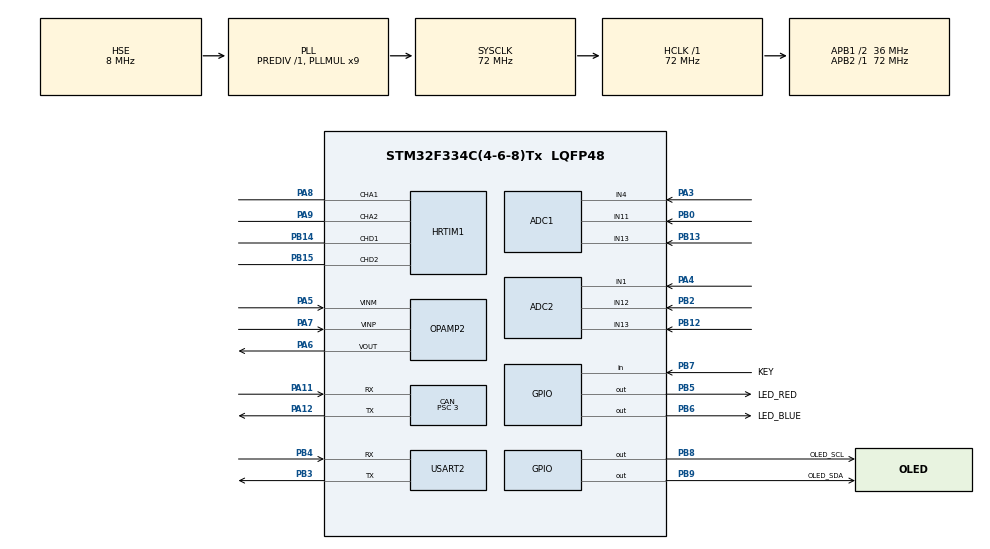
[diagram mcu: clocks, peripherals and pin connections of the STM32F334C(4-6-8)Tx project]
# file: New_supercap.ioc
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ADC1.Channel-0\#ChannelRegularConversion=ADC_CHANNEL_4
ADC1.Channel-1\#ChannelRegularConversion=ADC_CHANNEL_11
ADC1.Channel-2\#ChannelRegularConversion=ADC_CHANNEL_13
ADC1.ClockPrescaler=ADC_CLOCK_SYNC_PCLK_DIV1
ADC1.ContinuousConvMode=ENABLE
ADC1.DMAContinuousRequests=ENABLE
ADC1.EnableInjectedConversion=DISABLE
ADC1.ExternalTrigConv=ADC_SOFTWARE_START
ADC1.NbrOfConversion=3
ADC1.NbrOfConversionFlag=1
ADC1.Offset-0\#ChannelRegularConversion=0
ADC1.Offset-1\#ChannelRegularConversion=0
ADC1.Offset-2\#ChannelRegularConversion=0
ADC1.OffsetNumber-0\#ChannelRegularConversion=ADC_OFFSET_NONE
ADC1.OffsetNumber-1\#ChannelRegularConversion=ADC_OFFSET_NONE
ADC1.OffsetNumber-2\#ChannelRegularConversion=ADC_OFFSET_NONE
ADC1.Overrun=ADC_OVR_DATA_PRESERVED
ADC1.Rank-0\#ChannelRegularConversion=1
ADC1.Rank-1\#ChannelRegularConversion=2
ADC1.Rank-2\#ChannelRegularConversion=3
ADC1.SamplingTime-0\#ChannelRegularConversion=ADC_SAMPLETIME_601CYCLES_5
ADC1.SamplingTime-1\#ChannelRegularConversion=ADC_SAMPLETIME_601CYCLES_5
ADC1.SamplingTime-2\#ChannelRegularConversion=ADC_SAMPLETIME_601CYCLES_5
ADC1.SubFamily=STM32F334x8
ADC1.master=1
ADC2.Channel-0\#ChannelRegularConversion=ADC_CHANNEL_13
ADC2.Channel-1\#ChannelRegularConversion=ADC_CHANNEL_12
ADC2.Channel-2\#ChannelRegularConversion=ADC_CHANNEL_1
ADC2.ClockPrescaler=ADC_CLOCK_SYNC_PCLK_DIV1
ADC2.ContinuousConvMode=ENABLE
ADC2.DMAContinuousRequests=ENABLE
ADC2.EnableInjectedConversion=DISABLE
ADC2.NbrOfConversion=3
ADC2.NbrOfConversionFlag=1
ADC2.Offset-0\#ChannelRegularConversion=0
ADC2.Offset-1\#ChannelRegularConversion=0
ADC2.Offset-2\#ChannelRegularConversion=0
ADC2.OffsetNumber-0\#ChannelRegularConversion=ADC_OFFSET_NONE
ADC2.OffsetNumber-1\#ChannelRegularConversion=ADC_OFFSET_NONE
ADC2.OffsetNumber-2\#ChannelRegularConversion=ADC_OFFSET_NONE
ADC2.Overrun=ADC_OVR_DATA_PRESERVED
ADC2.Rank-0\#ChannelRegularConversion=1
ADC2.Rank-1\#ChannelRegularConversion=2
ADC2.Rank-2\#ChannelRegularConversion=3
ADC2.SamplingTime-0\#ChannelRegularConversion=ADC_SAMPLETIME_601CYCLES_5
ADC2.SamplingTime-1\#ChannelRegularConversion=ADC_SAMPLETIME_601CYCLES_5
ADC2.SamplingTime-2\#ChannelRegularConversion=ADC_SAMPLETIME_601CYCLES_5
ADC2.SamplingTimeOPAMP-1\#ChannelRegularConversion=ADC_SAMPLETIME_61CYCLES_5
ADC2.SamplingTimeOPAMP-2\#ChannelRegularConversion=ADC_SAMPLETIME_61CYCLES_5
ADC2.SubFamily=STM32F334x8
CAN.ABOM=DISABLE
CAN.BS1=CAN_BS1_7TQ
CAN.BS2=CAN_BS2_4TQ
CAN.CalculateBaudRate=999999
CAN.CalculateTimeBit=1000
CAN.CalculateTimeQuantum=83.33333333333334
CAN.NART=DISABLE
CAN.Prescaler=3
CAN.TXFP=ENABLE
Dma.ADC1.0.Direction=DMA_PERIPH_TO_MEMORY
Dma.ADC1.0.Instance=DMA1_Channel1
Dma.ADC1.0.MemDataAlignment=DMA_MDATAALIGN_HALFWORD
Dma.ADC1.0.MemInc=DMA_MINC_ENABLE
Dma.ADC1.0.Mode=DMA_CIRCULAR
Dma.ADC1.0.PeriphDataAlignment=DMA_PDATAALIGN_HALFWORD
Dma.ADC1.0.PeriphInc=DMA_PINC_DISABLE
Dma.ADC1.0.Priority=DMA_PRIORITY_HIGH
Dma.ADC2.1.Direction=DMA_PERIPH_TO_MEMORY
Dma.ADC2.1.Instance=DMA1_Channel2
Dma.ADC2.1.MemDataAlignment=DMA_MDATAALIGN_HALFWORD
Dma.ADC2.1.MemInc=DMA_MINC_ENABLE
Dma.ADC2.1.Mode=DMA_CIRCULAR
Dma.ADC2.1.PeriphDataAlignment=DMA_PDATAALIGN_HALFWORD
Dma.ADC2.1.PeriphInc=DMA_PINC_DISABLE
Dma.ADC2.1.Priority=DMA_PRIORITY_HIGH
Dma.Request0=ADC1
Dma.Request1=ADC2
FREERTOS.Tasks01=defaultTask,0,256,StartDefaultTask,Default,NULL,Dynamic,NULL,NULL;OLED,-2,512,StartOLED,As weak,NULL,Dynamic,NULL,NULL;cap_loop,1,512,Startcap_loop,As weak,NULL,Dynamic,NULL,NULL
FREERTOS.configTOTAL_HEAP_SIZE=6000
HRTIM1.CompareUnit1-Output_TA1TA2=HRTIM_COMPAREUNIT_1
HRTIM1.CompareUnit1-Output_TD1TD2=HRTIM_COMPAREUNIT_1
HRTIM1.CompareUnit2-Output_TA1TA2=HRTIM_COMPAREUNIT_2
HRTIM1.CompareUnit2-Output_TD1TD2=HRTIM_COMPAREUNIT_2
HRTIM1.CompareValue1-Output_TA1TA2=23040
HRTIM1.CompareValue1-Output_TD1TD2=23040
HRTIM1.CompareValue2-Output_TA1TA2=23040
HRTIM1.CompareValue2-Output_TD1TD2=23040
HRTIM1.DeadTimeInsertion-Output_TA1TA2=HRTIM_TIMDEADTIMEINSERTION_ENABLED
HRTIM1.DeadTimeInsertion-Output_TD1TD2=HRTIM_TIMDEADTIMEINSERTION_ENABLED
HRTIM1.FallingValue-Output_TA1TA2=500
HRTIM1.FallingValue-Output_TD1TD2=500
HRTIM1.NumberInterruptRequests_Master-MasterTimer=0
HRTIM1.NumberResetSource1-Output_TA1TA2=1
HRTIM1.NumberResetSource1-Output_TD1TD2=1
HRTIM1.NumberResetTrigger-Output_TA1TA2=0
HRTIM1.NumberResetTrigger-Output_TD1TD2=0
HRTIM1.NumberSetSource1-Output_TA1TA2=1
HRTIM1.NumberSetSource1-Output_TD1TD2=1
HRTIM1.Periode_MASTER=46080
HRTIM1.Periode_TA=46080
HRTIM1.Periode_TD=46080
HRTIM1.PreloadEnable-MasterTimer=HRTIM_PRELOAD_ENABLED
HRTIM1.PreloadEnable-Output_TA1TA2=HRTIM_PRELOAD_ENABLED
HRTIM1.PreloadEnable-Output_TD1TD2=HRTIM_PRELOAD_ENABLED
HRTIM1.PrescalerDead-Output_TD1TD2=HRTIM_TIMDEADTIME_PRESCALERRATIO_MUL8
HRTIM1.RepetitionUpdate-MasterTimer=HRTIM_UPDATEONREPETITION_ENABLED
HRTIM1.RepetitionUpdate-Output_TA1TA2=HRTIM_UPDATEONREPETITION_ENABLED
HRTIM1.RepetitionUpdate-Output_TD1TD2=HRTIM_UPDATEONREPETITION_ENABLED
HRTIM1.ResetOutput1_Source1-Output_TA1TA2=HRTIM_OUTPUTRESET_TIMCMP2
HRTIM1.ResetOutput1_Source1-Output_TD1TD2=HRTIM_OUTPUTRESET_TIMCMP2
HRTIM1.RisingValue-Output_TA1TA2=500
HRTIM1.RisingValue-Output_TD1TD2=500
HRTIM1.SetOutput1_Source1-Output_TA1TA2=HRTIM_OUTPUTSET_TIMCMP1
HRTIM1.SetOutput1_Source1-Output_TD1TD2=HRTIM_OUTPUTSET_TIMCMP1
Mcu.Family=STM32F3
Mcu.Name=STM32F334C(4-6-8)Tx
Mcu.Package=LQFP48
NVIC.CAN_RX0_IRQn=true\:5\:0\:true\:false\:true\:true\:true\:true\:true
NVIC.DMA1_Channel1_IRQn=true\:5\:0\:false\:false\:true\:true\:false\:true\:true
NVIC.DMA1_Channel2_IRQn=true\:5\:0\:false\:false\:true\:true\:false\:true\:true
NVIC.PriorityGroup=NVIC_PRIORITYGROUP_4
NVIC.TIM2_IRQn=true\:5\:0\:true\:false\:true\:true\:true\:true\:true
NVIC.TIM3_IRQn=true\:15\:0\:false\:false\:true\:false\:false\:true\:true
NVIC.TimeBase=TIM3_IRQn
NVIC.TimeBaseIP=TIM3
OPAMP2.SelfCalibration=Disable
PA11.Mode=CAN_Activate
PA11.Signal=CAN_RX
PA12.Mode=CAN_Activate
PA12.Signal=CAN_TX
PA13.Mode=Serial_Wire
PA13.Signal=SYS_JTMS-SWDIO
PA14.Mode=Serial_Wire
PA14.Signal=SYS_JTCK-SWCLK
PA3.Mode=IN4-Single-Ended
PA3.Signal=ADC1_IN4
PA4.Mode=IN1-Single-Ended
PA4.Signal=ADC2_IN1
PA5.Mode=Standalone
PA5.Signal=OPAMP2_VINM
PA6.Mode=Standalone
PA6.Signal=OPAMP2_VOUT
PA7.Mode=Standalone
PA7.Signal=OPAMP2_VINP
PA8.Mode=Output_TA1TA2
PA8.Signal=HRTIM1_CHA1
PA9.Mode=Output_TA1TA2
PA9.Signal=HRTIM1_CHA2
PB0.Mode=IN11-Single-Ended
PB0.Signal=ADC1_IN11
PB12.Mode=IN13-Single-Ended
PB12.Signal=ADC2_IN13
PB13.Mode=IN13-Single-Ended
PB13.Signal=ADC1_IN13
PB14.Mode=Output_TD1TD2
PB14.Signal=HRTIM1_CHD1
PB15.Mode=Output_TD1TD2
PB15.Signal=HRTIM1_CHD2
PB2.Mode=IN12-Single-Ended
PB2.Signal=ADC2_IN12
PB3.Mode=Asynchronous
PB3.Signal=USART2_TX
PB4.Mode=Asynchronous
PB4.Signal=USART2_RX
PB5.GPIO_Label=LED_RED
PB5.Signal=GPIO_Output
PB6.GPIO_Label=LED_BLUE
PB6.Signal=GPIO_Output
PB7.GPIO_Label=KEY
PB7.Signal=GPIO_Input
PB8.GPIO_Label=OLED_SCL
PB8.GPIO_Speed=GPIO_SPEED_FREQ_HIGH
PB8.Signal=GPIO_Output
PB9.GPIO_Label=OLED_SDA
PB9.GPIO_ModeDefaultOutputPP=GPIO_MODE_OUTPUT_OD
PB9.GPIO_PuPd=GPIO_NOPULL
PB9.GPIO_Speed=GPIO_SPEED_FREQ_HIGH
PB9.Signal=GPIO_Output
PF0\ /\ OSC_IN.Mode=HSE-External-Oscillator
PF0\ /\ OSC_IN.Signal=RCC_OSC_IN
PF1\ /\ OSC_OUT.Mode=HSE-External-Oscillator
PF1\ /\ OSC_OUT.Signal=RCC_OSC_OUT
ProjectManager.HeapSize=0x200
ProjectManager.StackSize=0x400
ProjectManager.TargetToolchain=MDK-ARM V5.32
RCC.AHBFreq_Value=72000000
RCC.APB1CLKDivider=RCC_HCLK_DIV2
RCC.APB1Freq_Value=36000000
RCC.APB1TimFreq_Value=72000000
RCC.APB2Freq_Value=72000000
RCC.APB2TimFreq_Value=72000000
RCC.CortexFreq_Value=72000000
RCC.HCLKFreq_Value=72000000
RCC.HRTIMSelection=RCC_HRTIM1CLK_PLLCLK
RCC.HSE_VALUE=8000000
RCC.HSI_VALUE=8000000
RCC.LSE_VALUE=32768
RCC.PLLMUL=RCC_PLL_MUL9
RCC.PLLSourceVirtual=RCC_PLLSOURCE_HSE
RCC.SYSCLKFreq_VALUE=72000000
RCC.SYSCLKSourceVirtual=RCC_SYSCLKSOURCE_PLLCLK
TIM2.AutoReloadPreload=TIM_AUTORELOAD_PRELOAD_ENABLE
TIM2.Period=99
TIM2.Prescaler=71
USART2.VirtualMode-Asynchronous=VM_ASYNC
VP_FREERTOS_VS_CMSIS_V1.Mode=CMSIS_V1
VP_HRTIM1_VS_hrtimMasterTimerNoOutput.Mode=MasterTimer
VP_SYS_VS_tim3.Mode=TIM3
VP_TIM2_VS_ClockSourceINT.Mode=Internal
board=custom

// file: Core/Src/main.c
/* USER CODE BEGIN Header */
/**
  ******************************************************************************
  * @file           : main.c
  * @brief          : Main program body
  ******************************************************************************
  * @attention
  *
  * Copyright (c) 2023 STMicroelectronics.
  * All rights reserved.
  *
  * This software is licensed under terms that can be found in the LICENSE file
  * in the root directory of this software component.
  * If no LICENSE file comes with this software, it is provided AS-IS.
  *
  ******************************************************************************
  */
/* USER CODE END Header */
#include "main.h"
#include "cmsis_os.h"
#include "adc.h"
#include "can.h"
#include "dma.h"
#include "hrtim.h"
#include "opamp.h"
#include "tim.h"
#include "usart.h"
#include "gpio.h"

/* USER CODE BEGIN Includes */
#include "driver.h"
#include "cap_config.h"
#include "adc_def.h"
#include "bsp_adc.h"
/* USER CODE END Includes */

/* USER CODE BEGIN PD */
//超电自检功能
/* USER CODE END PD */

/* USER CODE BEGIN PV */
uint32_t	buck_duty,boost_duty;
uint32_t	PWM_PER_0_5 = 500;
uint16_t  test_pwm;
/* USER CODE END PV */

void SystemClock_Config(void);
void MX_FREERTOS_Init(void);

int main(void)
{

  /* MCU Configuration--------------------------------------------------------*/

  /* Reset of all peripherals, Initializes the Flash interface and the Systick. */
  HAL_Init();

  /* Configure the system clock */
  SystemClock_Config();

  /* Initialize all configured peripherals */
  MX_GPIO_Init();
  MX_DMA_Init();
  MX_CAN_Init();
  MX_ADC1_Init();
  MX_ADC2_Init();
  MX_OPAMP2_Init();
  MX_TIM2_Init();
  MX_HRTIM1_Init();
  MX_USART2_UART_Init();
  /* USER CODE BEGIN 2 */

  DRIVER_Init();
  DEVICE_Init();

  buck_duty  = 0;
  boost_duty = 0;
  while(1)
  {
	PWM_PER_0_5	= 0.5f * hhrtim1.Instance->sTimerxRegs[0].PERxR;

	hhrtim1.Instance->sTimerxRegs[0].CMP1xR = PWM_PER_0_5 - buck_duty;//TimerA PWM??1?????????????????PWM????PWM_PER_0_5?????

   hhrtim1.Instance->sTimerxRegs[0].CMP2xR = PWM_PER_0_5 + buck_duty;//TimerA PWM??0???????????  ??400-50????400+50??????????400

	hhrtim1.Instance->sTimerxRegs[3].CMP1xR = PWM_PER_0_5 + boost_duty;//TimerD PWM??1?????????????????PWM????PWM_PER_0_5?????

   hhrtim1.Instance->sTimerxRegs[3].CMP2xR = PWM_PER_0_5 - boost_duty;//TimerD PWM??0???????????  ??400-50????400+50??????????400

  ADC_update(&ADC_Data);

	HAL_Delay(10);
  }
  /* USER CODE END 2 */

  /* Call init function for freertos objects (in freertos.c) */
  MX_FREERTOS_Init();

  /* Start scheduler */
  osKernelStart();

  /* We should never get here as control is now taken by the scheduler */
  /* Infinite loop */
  while (1)
  {

  }
}

void SystemClock_Config(void)
{
  RCC_OscInitTypeDef RCC_OscInitStruct = {0};
  RCC_ClkInitTypeDef RCC_ClkInitStruct = {0};
  RCC_PeriphCLKInitTypeDef PeriphClkInit = {0};

  /** Initializes the RCC Oscillators according to the specified parameters
  * in the RCC_OscInitTypeDef structure.
  */
  RCC_OscInitStruct.OscillatorType = RCC_OSCILLATORTYPE_HSE;
  RCC_OscInitStruct.HSEState = RCC_HSE_ON;
  RCC_OscInitStruct.HSEPredivValue = RCC_HSE_PREDIV_DIV1;
  RCC_OscInitStruct.HSIState = RCC_HSI_ON;
  RCC_OscInitStruct.PLL.PLLState = RCC_PLL_ON;
  RCC_OscInitStruct.PLL.PLLSource = RCC_PLLSOURCE_HSE;
  RCC_OscInitStruct.PLL.PLLMUL = RCC_PLL_MUL9;
  if (HAL_RCC_OscConfig(&RCC_OscInitStruct) != HAL_OK)
  {
    Error_Handler();
  }

  /** Initializes the CPU, AHB and APB buses clocks
  */
  RCC_ClkInitStruct.ClockType = RCC_CLOCKTYPE_HCLK|RCC_CLOCKTYPE_SYSCLK
                              |RCC_CLOCKTYPE_PCLK1|RCC_CLOCKTYPE_PCLK2;
  RCC_ClkInitStruct.SYSCLKSource = RCC_SYSCLKSOURCE_PLLCLK;
  RCC_ClkInitStruct.AHBCLKDivider = RCC_SYSCLK_DIV1;
  RCC_ClkInitStruct.APB1CLKDivider = RCC_HCLK_DIV2;
  RCC_ClkInitStruct.APB2CLKDivider = RCC_HCLK_DIV1;

  if (HAL_RCC_ClockConfig(&RCC_ClkInitStruct, FLASH_LATENCY_2) != HAL_OK)
  {
    Error_Handler();
  }
  PeriphClkInit.PeriphClockSelection = RCC_PERIPHCLK_HRTIM1;
  PeriphClkInit.Hrtim1ClockSelection = RCC_HRTIM1CLK_PLLCLK;
  if (HAL_RCCEx_PeriphCLKConfig(&PeriphClkInit) != HAL_OK)
  {
    Error_Handler();
  }
}

void HAL_TIM_PeriodElapsedCallback(TIM_HandleTypeDef *htim)
{
  if (htim->Instance == TIM3) {
    HAL_IncTick();
  }
  /* USER CODE BEGIN Callback 1 */
	TIM_PeriodElapsedCallback(htim);
  /* USER CODE END Callback 1 */
}

void Error_Handler(void)
{
  __disable_irq();
  while (1)
  {
  }
}

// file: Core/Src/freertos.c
/* USER CODE BEGIN Header */
/**
  ******************************************************************************
  * File Name          : freertos.c
  * Description        : Code for freertos applications
  ******************************************************************************
  * @attention
  *
  * Copyright (c) 2023 STMicroelectronics.
  * All rights reserved.
  *
  * This software is licensed under terms that can be found in the LICENSE file
  * in the root directory of this software component.
  * If no LICENSE file comes with this software, it is provided AS-IS.
  *
  ******************************************************************************
  */
/* USER CODE END Header */

#include "FreeRTOS.h"
#include "task.h"
#include "main.h"
#include "cmsis_os.h"

osThreadId defaultTaskHandle;
osThreadId OLEDHandle;
osThreadId cap_loopHandle;

void StartDefaultTask(void const * argument);
void StartOLED(void const * argument);
void Startcap_loop(void const * argument);

void MX_FREERTOS_Init(void); /* (MISRA C 2004 rule 8.1) */

/* GetIdleTaskMemory prototype (linked to static allocation support) */
void vApplicationGetIdleTaskMemory( StaticTask_t **ppxIdleTaskTCBBuffer, StackType_t **ppxIdleTaskStackBuffer, uint32_t *pulIdleTaskStackSize );

/* USER CODE BEGIN GET_IDLE_TASK_MEMORY */
static StaticTask_t xIdleTaskTCBBuffer;
static StackType_t xIdleStack[configMINIMAL_STACK_SIZE];

void vApplicationGetIdleTaskMemory( StaticTask_t **ppxIdleTaskTCBBuffer, StackType_t **ppxIdleTaskStackBuffer, uint32_t *pulIdleTaskStackSize )
{
  *ppxIdleTaskTCBBuffer = &xIdleTaskTCBBuffer;
  *ppxIdleTaskStackBuffer = &xIdleStack[0];
  *pulIdleTaskStackSize = configMINIMAL_STACK_SIZE;
  /* place for user code */
}
/* USER CODE END GET_IDLE_TASK_MEMORY */

void MX_FREERTOS_Init(void) {

  /* Create the thread(s) */
  /* definition and creation of defaultTask */
  osThreadDef(defaultTask, StartDefaultTask, osPriorityNormal, 0, 256);
  defaultTaskHandle = osThreadCreate(osThread(defaultTask), NULL);

  /* definition and creation of OLED */
  osThreadDef(OLED, StartOLED, osPriorityLow, 0, 512);
  OLEDHandle = osThreadCreate(osThread(OLED), NULL);

  /* definition and creation of cap_loop */
  osThreadDef(cap_loop, Startcap_loop, osPriorityAboveNormal, 0, 512);
  cap_loopHandle = osThreadCreate(osThread(cap_loop), NULL);

}

void StartDefaultTask(void const * argument)
{
  for(;;)
  {
    osDelay(1);
  }
}

__weak void StartOLED(void const * argument)
{
  for(;;)
  {
    osDelay(1);
  }
}

__weak void Startcap_loop(void const * argument)
{
  for(;;)
  {
    osDelay(1);
  }
}
